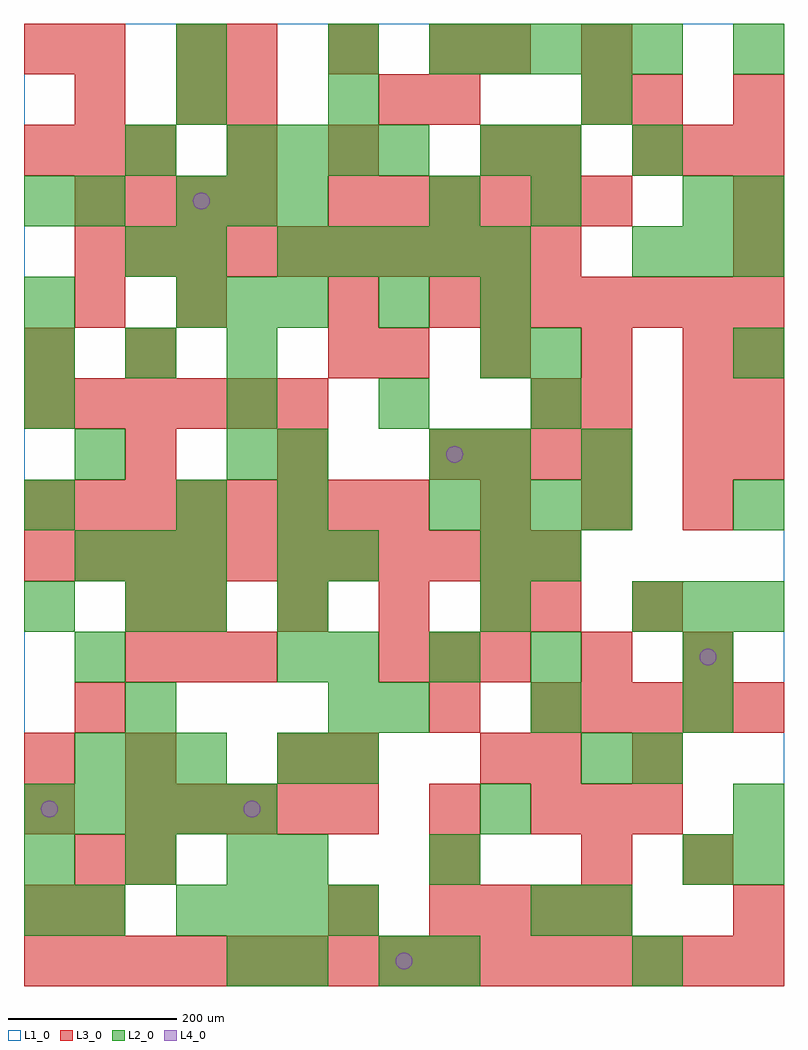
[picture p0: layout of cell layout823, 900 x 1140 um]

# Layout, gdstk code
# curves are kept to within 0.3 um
import gdstk
lib = gdstk.Library(unit=1e-6, precision=1e-09)
def R(c, l, rs):  # rectangles x0, y0, x1, y1
    for r in rs: c.add(gdstk.rectangle(r[:2], r[2:], *l))
def A(c, l, x, y, w, h, nx, ny, dx, dy):  # array of equal rectangles
    R(c, l, [(x+i*dx, y+j*dy, x+i*dx+w, y+j*dy+h) for i in range(nx) for j in range(ny)])
def P(c, l, *ps):  # polygons
    for p in ps: c.add(gdstk.Polygon(p, *l))
L1_0 = (1, 0)
L2_0 = (2, 0)
L3_0 = (3, 0)
L4_0 = (4, 0)

layout823 = lib.new_cell('layout823')
R(layout823, L1_0, [(0,0,900,1140)])
A(layout823, L2_0, 300, 0, 60, 60, 1, 4, 0, 120)
A(layout823, L2_0, 180, 60, 60, 60, 4, 1, 60, 0)
A(layout823, L2_0, 0, 120, 60, 60, 3, 2, 120, 600)
A(layout823, L2_0, 0, 180, 60, 60, 5, 1, 60, 0)
A(layout823, L2_0, 60, 240, 60, 60, 3, 2, 60, 240)
A(layout823, L2_0, 420, 300, 60, 60, 3, 1, 180, 0)
A(layout823, L2_0, 360, 360, 60, 60, 3, 1, 120, 0)
A(layout823, L2_0, 0, 420, 60, 60, 1, 5, 0, 120)
A(layout823, L2_0, 300, 420, 60, 60, 1, 4, 0, 60)
A(layout823, L2_0, 720, 420, 60, 60, 3, 2, 60, 420)
A(layout823, L2_0, 540, 480, 60, 60, 1, 3, 0, 120)
A(layout823, L2_0, 480, 540, 60, 60, 4, 1, 60, 0)
A(layout823, L2_0, 840, 540, 60, 60, 1, 4, 0, 180)
A(layout823, L2_0, 240, 660, 60, 60, 3, 1, 180, 0)
A(layout823, L2_0, 180, 780, 60, 60, 3, 2, 60, 120)
A(layout823, L2_0, 300, 840, 60, 60, 5, 1, 60, 0)
A(layout823, L2_0, 240, 960, 60, 60, 4, 1, 60, 0)
A(layout823, L2_0, 480, 1080, 60, 60, 5, 1, 60, 0)
R(layout823, L2_0, [(240,0,300,60), (420,0,480,60), (480,0,540,60), (720,0,780,60), (0,60,60,120), (60,60,120,120), (600,60,660,120), (660,60,720,120), (480,120,540,180), (780,120,840,180), (840,120,900,180), (540,180,600,240), (840,180,900,240), (360,240,420,300), (660,240,720,300), (720,240,780,300), (120,300,180,360), (360,300,420,360), (60,360,120,420), (780,360,840,420), (120,420,180,480), (180,420,240,480), (540,420,600,480), (360,480,420,540), (600,480,660,540), (180,540,240,600), (60,600,120,660), (240,600,300,660), (480,600,540,660), (660,600,720,660), (600,720,660,780), (420,780,480,840), (540,780,600,840), (120,840,180,900), (180,840,240,900), (60,900,120,960), (480,900,540,960), (600,900,660,960), (780,900,840,960), (120,960,180,1020), (540,960,600,1020), (600,960,660,1020), (720,960,780,1020), (180,1020,240,1080), (360,1020,420,1080), (660,1020,720,1080), (180,1080,240,1140), (360,1080,420,1140)])
A(layout823, L3_0, 0, 0, 60, 60, 15, 1, 60, 0)
A(layout823, L3_0, 480, 60, 60, 60, 4, 1, 60, 0)
A(layout823, L3_0, 780, 120, 60, 60, 1, 3, 0, 240)
A(layout823, L3_0, 120, 180, 60, 60, 5, 1, 60, 0)
A(layout823, L3_0, 600, 180, 60, 60, 3, 1, 60, 0)
A(layout823, L3_0, 600, 300, 60, 60, 5, 1, 60, 0)
A(layout823, L3_0, 120, 360, 60, 60, 3, 1, 60, 0)
A(layout823, L3_0, 420, 360, 60, 60, 3, 1, 60, 0)
A(layout823, L3_0, 180, 420, 60, 60, 4, 1, 120, 0)
A(layout823, L3_0, 0, 480, 60, 60, 11, 1, 60, 0)
A(layout823, L3_0, 0, 540, 60, 60, 8, 1, 60, 0)
A(layout823, L3_0, 540, 540, 60, 60, 3, 1, 120, 0)
A(layout823, L3_0, 120, 600, 60, 60, 3, 1, 180, 0)
A(layout823, L3_0, 540, 600, 60, 60, 3, 1, 60, 0)
A(layout823, L3_0, 840, 600, 60, 60, 1, 3, 0, 60)
A(layout823, L3_0, 0, 660, 60, 60, 6, 1, 60, 0)
A(layout823, L3_0, 420, 720, 60, 60, 4, 1, 120, 0)
A(layout823, L3_0, 480, 780, 60, 60, 7, 1, 60, 0)
A(layout823, L3_0, 60, 840, 60, 60, 10, 1, 60, 0)
A(layout823, L3_0, 60, 900, 60, 60, 4, 1, 60, 0)
A(layout823, L3_0, 360, 900, 60, 60, 6, 1, 60, 0)
A(layout823, L3_0, 0, 960, 60, 60, 3, 1, 60, 0)
A(layout823, L3_0, 720, 960, 60, 60, 3, 1, 60, 0)
A(layout823, L3_0, 240, 1080, 60, 60, 3, 1, 120, 0)
R(layout823, L3_0, [(0,60,60,120), (60,60,120,120), (360,60,420,120), (840,60,900,120), (60,120,120,180), (120,120,180,180), (480,120,540,180), (660,120,720,180), (0,180,60,240), (480,180,540,240), (0,240,60,300), (120,240,180,300), (300,240,360,300), (360,240,420,300), (540,240,600,300), (600,240,660,300), (720,240,780,300), (60,300,120,360), (480,300,540,360), (660,360,720,420), (120,420,180,480), (600,420,660,480), (720,420,780,480), (600,660,660,720), (660,660,720,720), (780,660,840,720), (0,720,60,780), (120,720,180,780), (360,720,420,780), (60,780,120,840), (180,780,240,840), (360,780,420,840), (840,840,900,900), (840,900,900,960), (240,960,300,1020), (360,960,420,1020), (540,960,600,1020), (600,960,660,1020), (60,1020,120,1080), (180,1020,240,1080), (240,1020,300,1080), (420,1020,480,1080), (480,1020,540,1080), (660,1020,720,1080), (720,1020,780,1080), (840,1020,900,1080), (0,1080,60,1140), (60,1080,120,1140), (180,1080,240,1140), (540,1080,600,1140), (660,1080,720,1140)])
P(layout823, L4_0, [(40,210),(39.239,213.827),(37.071,217.071),(33.827,219.239),(30,220),(26.173,219.239),(22.929,217.071),(20.761,213.827),(20,210),(20.761,206.173),(22.929,202.929),(26.173,200.761),(30,200),(33.827,200.761),(37.071,202.929),(39.239,206.173)],
  [(220,930),(219.239,933.827),(217.071,937.071),(213.827,939.239),(210,940),(206.173,939.239),(202.929,937.071),(200.761,933.827),(200,930),(200.761,926.173),(202.929,922.929),(206.173,920.761),(210,920),(213.827,920.761),(217.071,922.929),(219.239,926.173)],
  [(280,210),(279.239,213.827),(277.071,217.071),(273.827,219.239),(270,220),(266.173,219.239),(262.929,217.071),(260.761,213.827),(260,210),(260.761,206.173),(262.929,202.929),(266.173,200.761),(270,200),(273.827,200.761),(277.071,202.929),(279.239,206.173)],
  [(460,30),(459.239,33.827),(457.071,37.071),(453.827,39.239),(450,40),(446.173,39.239),(442.929,37.071),(440.761,33.827),(440,30),(440.761,26.173),(442.929,22.929),(446.173,20.761),(450,20),(453.827,20.761),(457.071,22.929),(459.239,26.173)],
  [(520,630),(519.239,633.827),(517.071,637.071),(513.827,639.239),(510,640),(506.173,639.239),(502.929,637.071),(500.761,633.827),(500,630),(500.761,626.173),(502.929,622.929),(506.173,620.761),(510,620),(513.827,620.761),(517.071,622.929),(519.239,626.173)],
  [(820,390),(819.239,393.827),(817.071,397.071),(813.827,399.239),(810,400),(806.173,399.239),(802.929,397.071),(800.761,393.827),(800,390),(800.761,386.173),(802.929,382.929),(806.173,380.761),(810,380),(813.827,380.761),(817.071,382.929),(819.239,386.173)])

lib.write_gds('layout823.gds')
